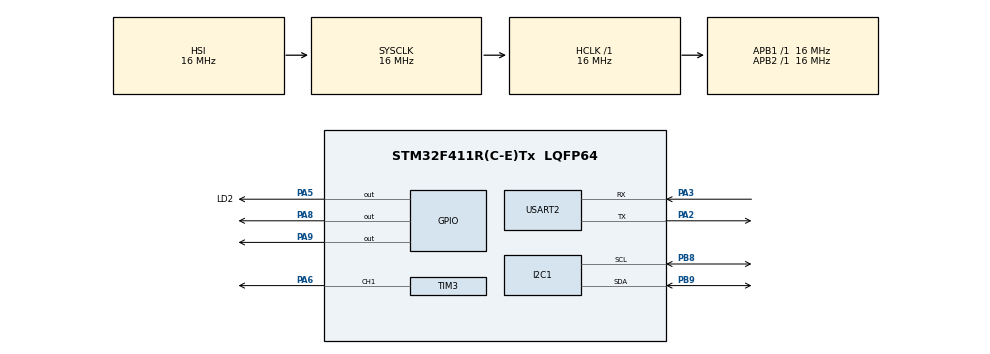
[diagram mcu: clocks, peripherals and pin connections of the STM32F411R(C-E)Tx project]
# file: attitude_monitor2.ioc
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Mcu.Family=STM32F4
Mcu.Name=STM32F411R(C-E)Tx
Mcu.Package=LQFP64
NVIC.PriorityGroup=NVIC_PRIORITYGROUP_4
PA2.Mode=Asynchronous
PA2.Signal=USART2_TX
PA3.Mode=Asynchronous
PA3.Signal=USART2_RX
PA5.GPIO_Label=LD2
PA5.Signal=GPIO_Output
PA6.Signal=S_TIM3_CH1
PA8.Signal=GPIO_Output
PA9.Signal=GPIO_Output
PB8.Mode=I2C
PB8.Signal=I2C1_SCL
PB9.Mode=I2C
PB9.Signal=I2C1_SDA
ProjectManager.HeapSize=0x200
ProjectManager.StackSize=0x400
ProjectManager.TargetToolchain=STM32CubeIDE
RCC.AHBFreq_Value=16000000
RCC.APB1Freq_Value=16000000
RCC.APB2Freq_Value=16000000
RCC.CortexFreq_Value=16000000
RCC.HSE_VALUE=25000000
RCC.HSI_VALUE=16000000
RCC.LSE_VALUE=32768
RCC.SYSCLKFreq_VALUE=16000000
RCC.VCOOutputFreq_Value=192000000
SH.S_TIM3_CH1.0=TIM3_CH1,PWM Generation1 CH1
TIM3.Channel-PWM\ Generation1\ CH1=TIM_CHANNEL_1
TIM3.Prescaler=99
USART2.VirtualMode=VM_ASYNC
VP_TIM3_VS_ClockSourceINT.Mode=Internal
board=custom

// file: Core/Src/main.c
/* USER CODE BEGIN Header */
/**
  ******************************************************************************
  * @file           : main.c
  * @brief          : Main program body
  ******************************************************************************
  * @attention
  *
  * Copyright (c) 2026 STMicroelectronics.
  * All rights reserved.
  *
  * This software is licensed under terms that can be found in the LICENSE file
  * in the root directory of this software component.
  * If no LICENSE file comes with this software, it is provided AS-IS.
  *
  ******************************************************************************
  */
/* USER CODE END Header */
#include "main.h"

/* USER CODE BEGIN Includes */
#include <stdio.h>
#include <stdio.h>
#include <math.h>
#include "ssd1306.h"
#include "ssd1306_fonts.h"
/* USER CODE END Includes */

/* USER CODE BEGIN PTD */
typedef enum { STATE_SAFE, STATE_WARNING, STATE_DANGER } AttitudeState;

/* USER CODE END PTD */

I2C_HandleTypeDef hi2c1;

TIM_HandleTypeDef htim3;

UART_HandleTypeDef huart2;

void SystemClock_Config(void);
static void MX_GPIO_Init(void);
static void MX_USART2_UART_Init(void);
static void MX_I2C1_Init(void);
static void MX_TIM3_Init(void);

int main(void)
{

  /* MCU Configuration--------------------------------------------------------*/

  /* Reset of all peripherals, Initializes the Flash interface and the Systick. */
  HAL_Init();

  /* Configure the system clock */
  SystemClock_Config();

  /* Initialize all configured peripherals */
  MX_GPIO_Init();
  MX_USART2_UART_Init();
  MX_I2C1_Init();
  MX_TIM3_Init();
  /* USER CODE BEGIN 2 */
  ssd1306_Init();
  //HAL_TIM_PWM_Start(&htim3, TIM_CHANNEL_1);

  ssd1306_SetCursor(0,0);

  ssd1306_WriteString("Hei", Font_11x18, White);
  ssd1306_UpdateScreen();
  uint8_t who = 0;
  uint8_t buf[12];
  uint32_t edellinen_aika = HAL_GetTick();

  //Herätä anturi: kirjoita ohjausrekistereihin (tehdään kerran, ennen silmukkaa)
  uint8_t ctrl1_arvo = 0x40;  //104 hz, +-2 g
  uint8_t ctrl2_arvo = 0x40; //104 hz, +- 250 dps

  HAL_I2C_Mem_Write(&hi2c1, 0x6A << 1, 0x10, 1, &ctrl1_arvo, 1, HAL_MAX_DELAY); //CTRL1_XL
  HAL_I2C_Mem_Write(&hi2c1, 0x6A << 1, 0x11, 1, &ctrl2_arvo, 1, HAL_MAX_DELAY); //CTRL2_G

  float alpha = 0.90f;
  float pitch = 0.0f;
  float roll = 0.0f;
  float pitch_kalman = 0.0f; // arvio kulmasta
  float bias_kalman = 0.0f; // arvio gyron biasista

  float P[2][2] = { {1.0f, 0.0f}, {0.0f, 1.0f} }; // epavarmuus: kulma, bias, ja niiden kytkos
  float Q_kulma_perus = 0.001f; // kulma-arvion ronsyily (saatoruuvi)
  float Q_bias = 0.003f;  // kuinka nopeasti bias saa liikkua (saatoruuvi)
  float R_perus = 0.5f;   // kiihtyvyysanturin kohina (saatoruuvi)

  char naytto_teksti[20];
  AttitudeState tila = STATE_SAFE;
  float gy_puskuri [10] = {0};
  int gy_indeksi = 0;

  /* USER CODE END 2 */

  /* Infinite loop */
  /* USER CODE BEGIN WHILE */
  while (1)
  {
	  uint32_t nyt = HAL_GetTick();
	  float dt = (nyt - edellinen_aika) / 1000.0f;
	  edellinen_aika = nyt;

    /* USER CODE END WHILE */

    /* USER CODE BEGIN 3 */
	  HAL_GPIO_TogglePin(GPIOA, GPIO_PIN_5);
	  //Lue 12 tavua anturidataa kerralla, alkaen tavusta rekisteristä 0x22
	  HAL_I2C_Mem_Read(&hi2c1, 0x6A << 1, 0x22, 1, buf, 12, HAL_MAX_DELAY);

	  //Liimaa tavuparit takaisin 16-bittisiksi lukemiksi
	  int16_t gx = (int16_t) buf[1] << 8 | buf[0];
	  int16_t gy = (int16_t) buf[3] << 8 | buf[2];
	  int16_t gz = (int16_t) buf[5] << 8 | buf[4];
	  int16_t ax = (int16_t) buf[7] << 8 | buf[6];
	  int16_t ay = (int16_t) buf[9] << 8 | buf[8];
	  int16_t az = (int16_t) buf[11] << 8 | buf[10];

	  //muunna gyron raakalukemat asteiksi sekunnissa (dps)
		  float gx_dps = gx * 0.00875f;
		  float gy_dps = gy * 0.00875f;
		  gy_puskuri[gy_indeksi] = gy_dps;
		  gy_indeksi = (gy_indeksi + 1) % 10;

		  float gy_summa = 0.0f;
		  for (int i = 0; i < 10; i++){
			  gy_summa = gy_summa + gy_puskuri[i];
		  }
		  float gy_suodatettu = gy_summa / 10.0f;

		  float gz_dps = gz * 0.00875f;

		  float ax_g = ax * 0.000061f;
		  float ay_g = ay * 0.000061f;
		  float az_g = az * 0.000061f;

		  float acc_voimakkuus = sqrtf(ax_g*ax_g + ay_g*ay_g + az_g*az_g);
		  float liike = fabsf(acc_voimakkuus - 1.0f);  // 0 = paikallaan, iso = tarinaa

	  float pitch_acc = atan2f(-ax, sqrtf(ay*ay + az*az)) * 180.0f / M_PI;

	  float roll_acc = atan2f(ay, az) * 180.0f / M_PI;

	  pitch = alpha * (pitch + (gy_dps * dt)) + ((1.0f - alpha) * pitch_acc);
	  roll = alpha * (roll + (gx_dps * dt)) + ((1.0f - alpha ) * roll_acc);

	  float Q_kulma = Q_kulma_perus * (1.0f + fabsf(gy_dps) / 100.0f);
	  float R = R_perus * (1.0f + 50.0f * liike);

	  float rate = gy_dps - bias_kalman; // puhdistettu kulmanopeus: bias vahennetty pois
	  pitch_kalman = pitch_kalman + rate * dt; // integroi puhdistettua nopeutta
	  P[0][0] += dt * (dt * P[1][1] - P[0][1] - P[1][0] + Q_kulma);
	  P[0][1] -= dt * P[1][1];
	  P[1][0] -= dt * P[1][1];
	  P[1][1] += Q_bias * dt;

	  float S = P[0][0] + R;
	  float K0 = P[0][0] / S;
	  float K1 = P[0][1] / S;
	  float y = pitch_acc - pitch_kalman; // kuinka vaarassa arvioni oli
	  pitch_kalman = pitch_kalman + K0 * y;  // korjaa kulmaa mittauksella
	  bias_kalman = bias_kalman + K1 * y;  // korjaa biasia

	  float P00 = P[0][0];
	  float P01 = P[0][1];

	  P[0][0] -= K0 * P00;   // kulman epavarmuus: iso K0 = uskoin mittausta = tiedan nyt tarkasti
	  P[0][1] -= K0 * P01;   // kytkos kutistuu kulman vahvistuksella
	  P[1][0] -= K1 * P00;   // eri kertoimet kuin ylla, mutta tulos sama: symmetria sailyy
	  P[1][1] -= K1 * P01;   // biasin epavarmuus pienenee, vaikka mitattiin vain kulmaa

	  float T_lookahead = 1.5f;
	  float pitch_pred = pitch_kalman + gy_suodatettu * T_lookahead;

	  printf("Pitch nyt: %.1f  Ennuste: %.1f \r\n", pitch, pitch_pred);
	  if (fabsf(pitch_pred) >= 30.0f){
		  printf("Ennuste: Danger tulossa!\r\n");

	  }

	  printf("acc:%.1f  FILT:%.1f  KALMAN:%.1f   Gyro: %.1f \r\n", pitch_acc, pitch, pitch_kalman, gy_dps);
	  // ylös: sama raja kuin ennen (kumpi tahansa kulma yli -> ei enää turvassa)
	  printf("Liike: %.3f\r\n", liike);

	  if(tila == STATE_SAFE){
		  if (fabsf(pitch_kalman) >= 30.0f || fabsf(roll) >= 60.0f){
			  tila = STATE_DANGER;
		  }else if(fabsf(pitch_kalman) >= 15.0f || fabsf(roll) >= 30.0f){
			  tila = STATE_WARNING;

		  }
	  }else if(tila == STATE_WARNING){
		  // ylös DANGERiin heti, mutta alas SAFEen vasta selvästi alempana (12 / 25)
		  		  if (fabsf(pitch_kalman) >= 30.0f || fabsf(roll) >= 60.0f) {
		  			  tila = STATE_DANGER;
		  		  } else if (fabsf(pitch_kalman) < 12.0f && fabsf(roll) < 25.0f) {
		  			  tila = STATE_SAFE;
		  		  }
		  	  } else { // STATE_DANGER
		  		  // alas WARNINGiin vasta selvästi alempana (27 / 55)
		  		  if (fabsf(pitch_kalman) < 27.0f && fabsf(roll) < 55.0f) {
		  			  tila = STATE_WARNING;
		  		  }
	  }
	  printf("Tila: %d\r\n", tila);

	 /** if (HAL_I2C_IsDeviceReady(&hi2c1, 0x3C << 1, 3, HAL_MAX_DELAY) == HAL_OK){
		  printf("OLED löytyi (0x3C)! \r\n");
	  } else {
		  printf("OLED ei löytynyt\r\n");
	  }*/

	  ssd1306_Fill(Black);
	  /**
	  sprintf(naytto_teksti, "Pitch:%.1f", pitch);
	  ssd1306_SetCursor(0,0);
	  ssd1306_WriteString(naytto_teksti, Font_11x18, White);
	  sprintf(naytto_teksti, "Roll:%.1f", roll);
	  ssd1306_SetCursor(0,20);
	  ssd1306_WriteString(naytto_teksti, Font_11x18, White);
	  **/

	  int keski_x = 64;
	  int keski_y = 32 + pitch_kalman * 1.5f;
	  if (keski_y < 0) keski_y = 0;
	  if (keski_y > 63) keski_y = 63;
	  int puoli_pituus = 40;

	  float kulma_rad = roll * M_PI / 180.0f;
	  int dx = puoli_pituus * cosf(kulma_rad);
	  int dy = puoli_pituus * sinf(kulma_rad);

	  int vasen_y = keski_y - dy;
	  int oikea_y = keski_y + dy;

	  	  if (vasen_y < 0) vasen_y = 0;
	  	  if (vasen_y > 63) vasen_y = 63;
	  	  if (oikea_y < 0) oikea_y = 0;
	  	  if (oikea_y > 63) oikea_y = 63;

	  ssd1306_Line(keski_x - dx, vasen_y, keski_x + dx, oikea_y, White);
	  HAL_TIM_PWM_Stop(&htim3, TIM_CHANNEL_1);
	  if(tila == STATE_DANGER){
		  HAL_TIM_PWM_Start(&htim3, TIM_CHANNEL_1);
		  HAL_GPIO_WritePin(GPIOA, GPIO_PIN_8, GPIO_PIN_SET);
		  HAL_GPIO_WritePin(GPIOA, GPIO_PIN_9, GPIO_PIN_RESET);
		  ssd1306_SetCursor(0,46);
		  ssd1306_WriteString("DANGER!!", Font_11x18, White);
		  ssd1306_InvertRectangle(0, 0, 127, 63);

	  }else if (tila == STATE_WARNING){
		 ssd1306_SetCursor(0,46);
		 HAL_GPIO_WritePin(GPIOA, GPIO_PIN_8, GPIO_PIN_SET);
		 HAL_GPIO_WritePin(GPIOA, GPIO_PIN_9, GPIO_PIN_SET);
		 ssd1306_WriteString("Warning!", Font_11x18, White);
	  }else if (tila == STATE_SAFE){
		  HAL_GPIO_WritePin(GPIOA, GPIO_PIN_8, GPIO_PIN_RESET);
		  HAL_GPIO_WritePin(GPIOA, GPIO_PIN_9, GPIO_PIN_SET);
	  }
	  ssd1306_UpdateScreen();

	  HAL_Delay(100);
  }
  /* USER CODE END 3 */
}

void SystemClock_Config(void)
{
  RCC_OscInitTypeDef RCC_OscInitStruct = {0};
  RCC_ClkInitTypeDef RCC_ClkInitStruct = {0};

  /** Configure the main internal regulator output voltage
  */
  __HAL_RCC_PWR_CLK_ENABLE();
  __HAL_PWR_VOLTAGESCALING_CONFIG(PWR_REGULATOR_VOLTAGE_SCALE1);

  /** Initializes the RCC Oscillators according to the specified parameters
  * in the RCC_OscInitTypeDef structure.
  */
  RCC_OscInitStruct.OscillatorType = RCC_OSCILLATORTYPE_HSI;
  RCC_OscInitStruct.HSIState = RCC_HSI_ON;
  RCC_OscInitStruct.HSICalibrationValue = RCC_HSICALIBRATION_DEFAULT;
  RCC_OscInitStruct.PLL.PLLState = RCC_PLL_NONE;
  if (HAL_RCC_OscConfig(&RCC_OscInitStruct) != HAL_OK)
  {
    Error_Handler();
  }

  /** Initializes the CPU, AHB and APB buses clocks
  */
  RCC_ClkInitStruct.ClockType = RCC_CLOCKTYPE_HCLK|RCC_CLOCKTYPE_SYSCLK
                              |RCC_CLOCKTYPE_PCLK1|RCC_CLOCKTYPE_PCLK2;
  RCC_ClkInitStruct.SYSCLKSource = RCC_SYSCLKSOURCE_HSI;
  RCC_ClkInitStruct.AHBCLKDivider = RCC_SYSCLK_DIV1;
  RCC_ClkInitStruct.APB1CLKDivider = RCC_HCLK_DIV1;
  RCC_ClkInitStruct.APB2CLKDivider = RCC_HCLK_DIV1;

  if (HAL_RCC_ClockConfig(&RCC_ClkInitStruct, FLASH_LATENCY_0) != HAL_OK)
  {
    Error_Handler();
  }
}

static void MX_I2C1_Init(void)
{

  hi2c1.Instance = I2C1;
  hi2c1.Init.ClockSpeed = 100000;
  hi2c1.Init.DutyCycle = I2C_DUTYCYCLE_2;
  hi2c1.Init.OwnAddress1 = 0;
  hi2c1.Init.AddressingMode = I2C_ADDRESSINGMODE_7BIT;
  hi2c1.Init.DualAddressMode = I2C_DUALADDRESS_DISABLE;
  hi2c1.Init.OwnAddress2 = 0;
  hi2c1.Init.GeneralCallMode = I2C_GENERALCALL_DISABLE;
  hi2c1.Init.NoStretchMode = I2C_NOSTRETCH_DISABLE;
  if (HAL_I2C_Init(&hi2c1) != HAL_OK)
  {
    Error_Handler();
  }

}

static void MX_TIM3_Init(void)
{

  TIM_ClockConfigTypeDef sClockSourceConfig = {0};
  TIM_MasterConfigTypeDef sMasterConfig = {0};
  TIM_OC_InitTypeDef sConfigOC = {0};

  htim3.Instance = TIM3;
  htim3.Init.Prescaler = 99;
  htim3.Init.CounterMode = TIM_COUNTERMODE_UP;
  htim3.Init.Period = 416;
  htim3.Init.ClockDivision = TIM_CLOCKDIVISION_DIV1;
  htim3.Init.AutoReloadPreload = TIM_AUTORELOAD_PRELOAD_DISABLE;
  if (HAL_TIM_Base_Init(&htim3) != HAL_OK)
  {
    Error_Handler();
  }
  sClockSourceConfig.ClockSource = TIM_CLOCKSOURCE_INTERNAL;
  if (HAL_TIM_ConfigClockSource(&htim3, &sClockSourceConfig) != HAL_OK)
  {
    Error_Handler();
  }
  if (HAL_TIM_PWM_Init(&htim3) != HAL_OK)
  {
    Error_Handler();
  }
  sMasterConfig.MasterOutputTrigger = TIM_TRGO_RESET;
  sMasterConfig.MasterSlaveMode = TIM_MASTERSLAVEMODE_DISABLE;
  if (HAL_TIMEx_MasterConfigSynchronization(&htim3, &sMasterConfig) != HAL_OK)
  {
    Error_Handler();
  }
  sConfigOC.OCMode = TIM_OCMODE_PWM1;
  sConfigOC.Pulse = 208;
  sConfigOC.OCPolarity = TIM_OCPOLARITY_HIGH;
  sConfigOC.OCFastMode = TIM_OCFAST_DISABLE;
  if (HAL_TIM_PWM_ConfigChannel(&htim3, &sConfigOC, TIM_CHANNEL_1) != HAL_OK)
  {
    Error_Handler();
  }
  HAL_TIM_MspPostInit(&htim3);

}

static void MX_USART2_UART_Init(void)
{

  huart2.Instance = USART2;
  huart2.Init.BaudRate = 115200;
  huart2.Init.WordLength = UART_WORDLENGTH_8B;
  huart2.Init.StopBits = UART_STOPBITS_1;
  huart2.Init.Parity = UART_PARITY_NONE;
  huart2.Init.Mode = UART_MODE_TX_RX;
  huart2.Init.HwFlowCtl = UART_HWCONTROL_NONE;
  huart2.Init.OverSampling = UART_OVERSAMPLING_16;
  if (HAL_UART_Init(&huart2) != HAL_OK)
  {
    Error_Handler();
  }

}

static void MX_GPIO_Init(void)
{
  GPIO_InitTypeDef GPIO_InitStruct = {0};

  /* GPIO Ports Clock Enable */
  __HAL_RCC_GPIOA_CLK_ENABLE();
  __HAL_RCC_GPIOB_CLK_ENABLE();

  /*Configure GPIO pin Output Level */
  HAL_GPIO_WritePin(GPIOA, LD2_Pin|GPIO_PIN_8|GPIO_PIN_9, GPIO_PIN_RESET);

  /*Configure GPIO pins : LD2_Pin PA8 PA9 */
  GPIO_InitStruct.Pin = LD2_Pin|GPIO_PIN_8|GPIO_PIN_9;
  GPIO_InitStruct.Mode = GPIO_MODE_OUTPUT_PP;
  GPIO_InitStruct.Pull = GPIO_NOPULL;
  GPIO_InitStruct.Speed = GPIO_SPEED_FREQ_LOW;
  HAL_GPIO_Init(GPIOA, &GPIO_InitStruct);

}

/* USER CODE BEGIN 4 */
int _write(int file, char *ptr, int len) {
	HAL_UART_Transmit(&huart2, (uint8_t*)ptr, len, HAL_MAX_DELAY);
	return len;
}
/* USER CODE END 4 */

void Error_Handler(void)
{
  __disable_irq();
  while (1)
  {
  }
}
